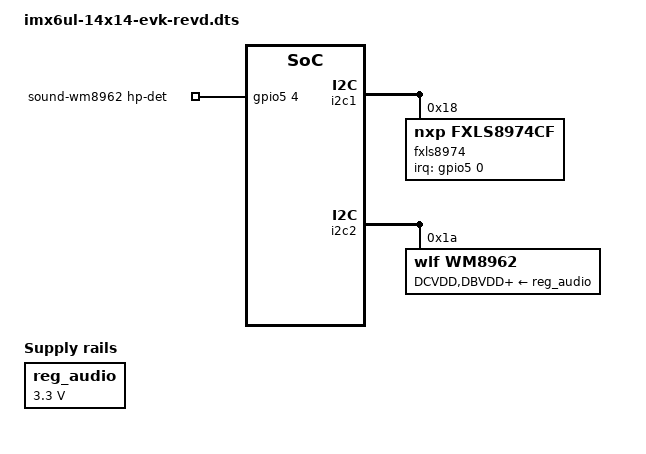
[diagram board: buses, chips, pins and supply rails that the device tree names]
// SPDX-License-Identifier: (GPL-2.0+ OR MIT)
/*
 * Copyright 2023 NXP
 */

#include <dt-bindings/clock/imx6ul-clock.h>

/dts-v1/;
/plugin/;

&{/} {
	sound-wm8960 {
		status = "disabled";
	};

	reg_audio: regulator-audio-pwr {
		compatible = "regulator-fixed";
		regulator-name = "audio-pwr";
		regulator-min-microvolt = <3300000>;
		regulator-max-microvolt = <3300000>;
		regulator-always-on;
	};

	sound-wm8962 {
		compatible = "fsl,imx-audio-wm8962";
		model = "wm8962-audio";
		audio-cpu = <&sai2>;
		audio-codec = <&wm8962>;
		audio-asrc = <&asrc>;
		hp-det-gpio = <&gpio5 4 0>;
		audio-routing =
			"Headphone Jack", "HPOUTL",
			"Headphone Jack", "HPOUTR",
			"Ext Spk", "SPKOUTL",
			"Ext Spk", "SPKOUTR",
			"IN1L", "Mic Jack",
			"IN3L", "Mic Jack",
			"Mic Jack", "MICBIAS",
			"AMIC", "MICBIAS",
			"IN1R", "AMIC",
			"IN2R", "AMIC";
	};
};

&i2c1 {
	#address-cells = <1>;
	#size-cells = <0>;

	fxls8974@18 {
		compatible = "nxp,fxls8974cf";
		reg = <0x18>;
		interrupt-parent = <&gpio5>;
		interrupts = <0 8>;
	};
};

&codec {
	status = "disabled";
};

&i2c2 {
	#address-cells = <1>;
	#size-cells = <0>;

	wm8962: wm8962@1a {
		compatible = "wlf,wm8962";
		reg = <0x1a>;
		clocks = <&clks IMX6UL_CLK_SAI2>;
		DCVDD-supply = <&reg_audio>;
		DBVDD-supply = <&reg_audio>;
		AVDD-supply = <&reg_audio>;
		CPVDD-supply = <&reg_audio>;
		MICVDD-supply = <&reg_audio>;
		PLLVDD-supply = <&reg_audio>;
		SPKVDD1-supply = <&reg_audio>;
		SPKVDD2-supply = <&reg_audio>;
		gpio-cfg = <
			0x0000 /* 0:Default */
			0x0000 /* 1:Default */
			0x0000 /* 2:FN_DMICCLK */
			0x0000 /* 3:Default */
			0x0000 /* 4:FN_DMICCDAT */
			0x0000 /* 5:Default */
		>;
	};
};
